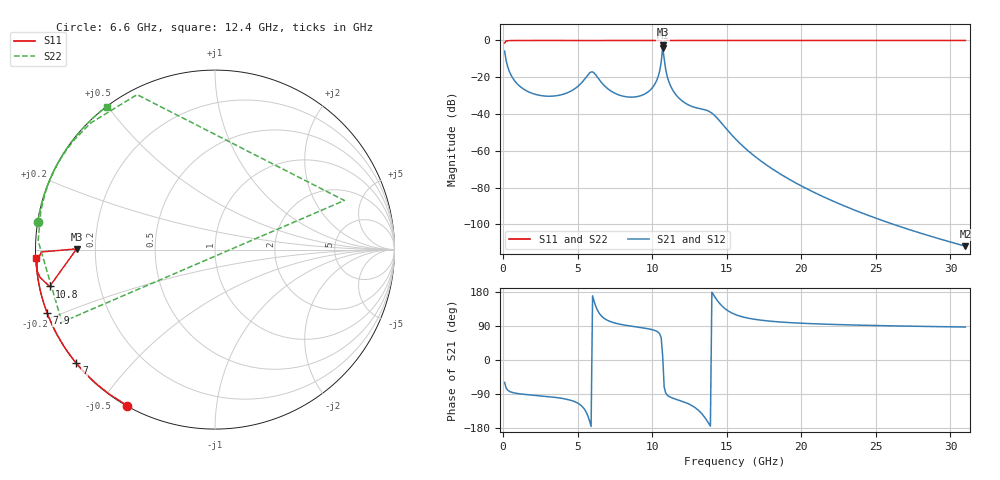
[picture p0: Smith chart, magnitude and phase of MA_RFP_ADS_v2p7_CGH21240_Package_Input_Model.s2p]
! Package Model of CGH21240 Transistor Input
! Port 1 is Package Lead
! Port 2 is DUT
!AWR Design Environment (4229) Tue Oct 21 16:05:50 2008
!freq-unit  param-type  data-format  keyword  impedance-ohms
# GHz  S  MA  R  50
!Freq  MagS11  AngS11  MagS21  AngS21  MagS12  AngS12  MagS22  AngS22
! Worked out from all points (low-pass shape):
!   310 points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, 100 MHz to 31 GHz, reference 50 ohm
!   highest |S21| = -3.92 dB at 10.7 GHz (marker M1); lowest = -111.9 dB at 31 GHz (marker M2)
!   |S21| within 3 dB of the highest: start of sweep to 123.4 MHz; 10.66 GHz to 10.75 GHz (90.6 MHz wide, 0.846 % of centre)
!   lowest |S11| = -2.3 dB at 10.7 GHz (marker M3), VSWR 7.73, Z = 6.47 + j0.129 ohm
!   |S11| at or under -10 dB: nowhere
!   |S22| runs from -2.3 to 0.0 dB; largest |S21 - S12| = 0
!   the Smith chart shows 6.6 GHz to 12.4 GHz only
!   S11 on the Smith chart (normalised r, x): 6.6 GHz: 0.00, -0.59; 7 GHz: 0.00, -0.36; 7.9 GHz: 0.00, -0.18; 10.8 GHz: 0.03, -0.11; 12.4 GHz: 0.00, -0.02
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0.1  0.8562 -149.2  0.5166 -59.1  0.5166 -59.1  0.8562 -149.0
1.8  0.9993 176.0  0.0385 -92.1  0.0385 -92.1  0.9993 179.8
5.3  0.9973 121.3  0.0734 -122.7  0.0734 -122.7  0.9973 173.4
5.7  0.993 68.7  0.118 -149.3  0.118 -149.3  0.993 172.6
6  0.9902 -13.3  0.1393 169.5  0.1393 169.5  0.9902 172.3
6.2  0.9931 -65.8  0.1174 143.1  0.1174 143.1  0.9931 172.0
6.6  0.9974 -119.3  0.07139 115.9  0.07139 115.9  0.9974 171.1
7  0.9988 -140.7  0.04929 104.7  0.04929 104.7  0.9988 170.0
7.9  0.9995 -159.2  0.03162 93.9  0.03162 93.9  0.9995 167.1
10.4  0.9945 -175.5  0.105 73.2  0.105 73.2  0.9945 142.0
10.6  0.9665 -179.2  0.2566 58.7  0.2566 58.7  0.9665 116.7
10.7  0.7709 179.7  0.637 10.3  0.637 10.3  0.7709 20.8
10.8  0.9439 -167.4  0.3304 -71.0  0.3304 -71.0  0.9439 -154.7
11.1  0.9969 -173.3  0.07836 -95.6  0.07836 -95.6  0.9969 162.0
12.4  0.9998 -177.4  0.0179 -115.1  0.0179 -115.1  0.9998 127.2
13.4  0.9999 -179.1  0.01347 -145.3  0.01347 -145.3  0.9999 68.5
14  0.9999 180.0  0.01054 178.9  0.01054 178.9  0.9999 -2.1
14.6  1 179.1  0.005942 145.6  0.005942 145.6  1 -67.8
15.6  1 177.9  0.002066 119.6  0.002066 119.6  1 -118.8
20.7  1 172.9  7.934e-05 95.8  7.934e-05 95.8  1 -161.3
25.9  1 168.8  1.091e-05 90.2  1.091e-05 90.2  1 -168.3
31  1 165.3  2.549e-06 87.0  2.549e-06 87.0  1 -171.3
